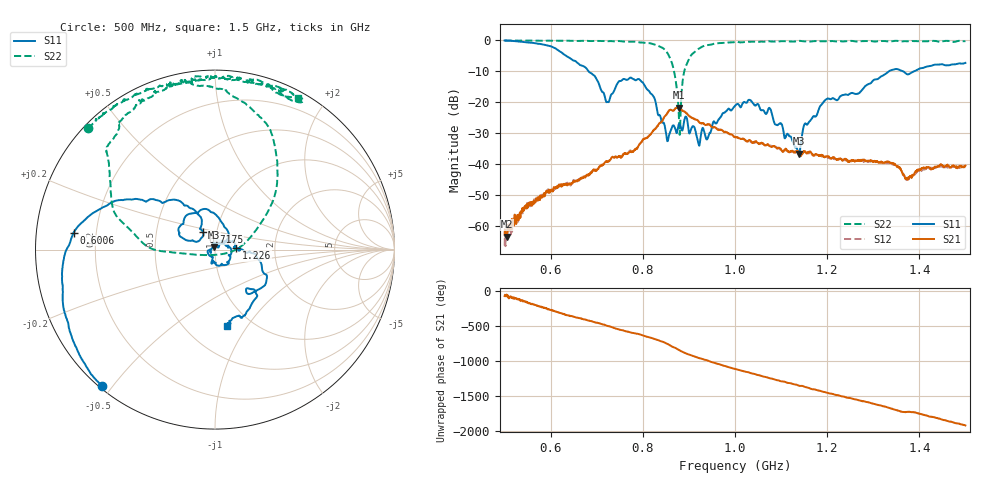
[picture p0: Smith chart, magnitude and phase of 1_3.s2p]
!Agilent Technologies,E8364B,US42250235,A.06.04.32
!Agilent E8364B: A.06.04.32
!Date: Friday, January 15, 2021 16:12:59
!Correction: S11(Full 2 Port(1,2)) S21(Full 2 Port(1,2)) S12(Full 2 Port(1,2)) S22(Full 2 Port(1,2))
!S2P File: Measurements: S11, S21, S12, S22:
# Hz S  dB  R 50
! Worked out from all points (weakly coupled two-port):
!   1601 points, 500 MHz to 1.5 GHz, reference 50 ohm
!   highest |S21| = -21.88 dB at 878.8 MHz (marker M1); lowest = -63.5 dB at 505.6 MHz (marker M2)
!   lowest |S11| = -36.7 dB at 1.138 GHz (marker M3), VSWR 1.03, Z = 49.5 + j1.38 ohm
!   |S11| at or under -10 dB: 681.8 MHz to 1.335 GHz (653.2 MHz wide, 64.8 % of centre); 1.363 GHz to 1.39 GHz (26.45 MHz wide, 1.92 % of centre)
!   |S22| runs from -30.6 to -0.2 dB; largest |S21 - S12| = 0.0033
!   S11 on the Smith chart (normalised r, x): 500 MHz: 0.01, -0.47; 600.6 MHz: 0.12, +0.06; 717.5 MHz: 0.86, +0.17; 1.226 GHz: 1.27, +0.02; 1.5 GHz: 0.78, -0.80
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5e8  -0.11 -129.6  -62.93 -80.1  -66.41 -72.4  -0.17 136.2
5.05625e8  -0.14 -131.9  -63.49 -79.9  -61.67 -76.1  -0.19 135.6
6.00625e8  -2.01 173.1  -48.35 83.0  -49.20 82.7  -0.21 125.8
6.66875e8  -8.21 137.7  -44.56 -42.4  -44.34 -42.3  -0.24 116.6
7.175e8  -18.30 124.2  -39.52 -130.5  -39.50 -129.1  -0.31 111.9
7.9125e8  -12.59 105.2  -33.93 98.8  -33.83 99.7  -0.69 96.9
8.3375e8  -24.29 45.9  -27.33 11.5  -27.27 13.0  -1.88 74.9
8.53125e8  -32.67 94.6  -23.64 -40.0  -23.66 -38.2  -4.13 56.6
8.625e8  -28.48 109.1  -22.64 -76.5  -22.60 -74.1  -7.13 41.4
8.7875e8  -27.12 82.3  -21.88 -128.6  -21.80 -126.8  -26.47 -31.5
8.9125e8  -25.22 81.0  -23.20 -169.3  -23.19 -168.0  -9.32 179.9
9.0625e8  -28.24 90.2  -25.05 153.2  -25.20 154.9  -4.63 160.6
9.40625e8  -31.82 45.5  -27.26 81.9  -27.23 83.2  -1.61 136.2
1e9  -21.21 6.4  -31.39 -37.2  -31.25 -35.6  -0.62 116.0
1.075625e9  -22.12 -104.7  -34.29 -170.5  -34.02 -168.2  -0.39 105.4
1.138125e9  -36.66 109.0  -36.14 84.8  -36.37 86.1  -0.29 94.7
1.150625e9  -27.21 80.8  -35.97 68.5  -36.27 69.4  -0.42 97.1
1.166875e9  -25.24 64.7  -36.70 34.0  -36.83 37.7  -0.41 91.7
1.22625e9  -18.56 4.6  -38.53 -57.4  -38.73 -56.6  -0.35 87.5
1.33375e9  -10.13 -25.9  -39.27 128.7  -39.45 126.7  -0.43 77.2
1.37375e9  -11.06 -51.8  -44.97 69.4  -45.04 67.5  -0.41 73.0
1.5e9  -7.36 -81.2  -40.60 -123.7  -41.05 -127.3  -0.31 61.5
